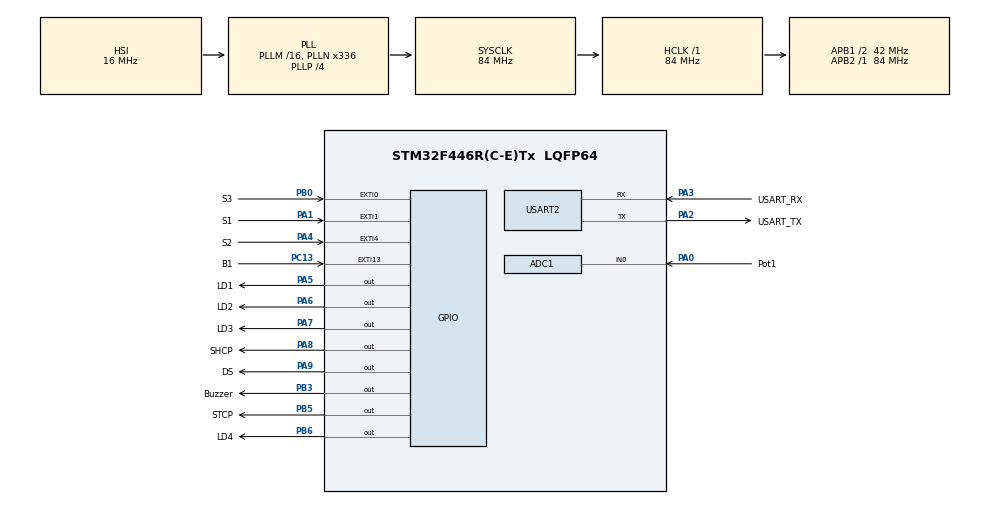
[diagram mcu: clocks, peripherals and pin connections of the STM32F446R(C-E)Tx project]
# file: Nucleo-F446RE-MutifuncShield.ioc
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ADC1.Channel-0\#ChannelRegularConversion=ADC_CHANNEL_0
ADC1.NbrOfConversionFlag=1
ADC1.Rank-0\#ChannelRegularConversion=1
ADC1.SamplingTime-0\#ChannelRegularConversion=ADC_SAMPLETIME_3CYCLES
ADC1.master=1
Mcu.Family=STM32F4
Mcu.Name=STM32F446R(C-E)Tx
Mcu.Package=LQFP64
NVIC.EXTI0_IRQn=true\:0\:0\:false\:false\:true\:true\:true\:true
NVIC.EXTI15_10_IRQn=true\:0\:0\:false\:false\:true\:true\:true\:true
NVIC.EXTI1_IRQn=true\:0\:0\:false\:false\:true\:true\:true\:true
NVIC.EXTI4_IRQn=true\:0\:0\:false\:false\:true\:true\:true\:true
NVIC.PriorityGroup=NVIC_PRIORITYGROUP_0
PA0-WKUP.GPIO_Label=Pot1
PA0-WKUP.Signal=ADCx_IN0
PA1.GPIO_Label=S1
PA1.Signal=GPXTI1
PA13.GPIO_Label=TMS
PA13.Mode=Serial_Wire
PA13.Signal=SYS_JTMS-SWDIO
PA14.GPIO_Label=TCK
PA14.Mode=Serial_Wire
PA14.Signal=SYS_JTCK-SWCLK
PA2.GPIO_Label=USART_TX
PA2.Mode=Asynchronous
PA2.Signal=USART2_TX
PA3.GPIO_Label=USART_RX
PA3.Mode=Asynchronous
PA3.Signal=USART2_RX
PA4.GPIO_Label=S2
PA4.Signal=GPXTI4
PA5.GPIO_Label=LD1
PA5.Signal=GPIO_Output
PA6.GPIO_Label=LD2
PA6.Signal=GPIO_Output
PA7.GPIO_Label=LD3
PA7.Signal=GPIO_Output
PA8.GPIO_Label=SHCP
PA8.Signal=GPIO_Output
PA9.GPIO_Label=DS
PA9.Signal=GPIO_Output
PB0.GPIO_Label=S3
PB0.Signal=GPXTI0
PB3.GPIO_Label=Buzzer
PB3.GPIO_PuPd=GPIO_PULLUP
PB3.PinState=GPIO_PIN_SET
PB3.Signal=GPIO_Output
PB5.GPIO_Label=STCP
PB5.Signal=GPIO_Output
PB6.GPIO_Label=LD4
PB6.Signal=GPIO_Output
PC13.GPIO_Label=B1
PC13.Signal=GPXTI13
PC14-OSC32_IN.Mode=LSE-External-Oscillator
PC14-OSC32_IN.Signal=RCC_OSC32_IN
PC15-OSC32_OUT.Mode=LSE-External-Oscillator
PC15-OSC32_OUT.Signal=RCC_OSC32_OUT
PH0-OSC_IN.Mode=HSE-External-Oscillator
PH0-OSC_IN.Signal=RCC_OSC_IN
PH1-OSC_OUT.Mode=HSE-External-Oscillator
PH1-OSC_OUT.Signal=RCC_OSC_OUT
ProjectManager.HeapSize=0x200
ProjectManager.StackSize=0x400
ProjectManager.TargetToolchain=STM32CubeIDE
RCC.48MHZClocksFreq_Value=84000000
RCC.AHBFreq_Value=84000000
RCC.APB1CLKDivider=RCC_HCLK_DIV2
RCC.APB1Freq_Value=42000000
RCC.APB1TimFreq_Value=84000000
RCC.APB2Freq_Value=84000000
RCC.APB2TimFreq_Value=84000000
RCC.CortexFreq_Value=84000000
RCC.FLatency-AdvancedSettings=FLASH_LATENCY_2
RCC.HCLKFreq_Value=84000000
RCC.HSE_VALUE=8000000
RCC.HSI_VALUE=16000000
RCC.PLLN=336
RCC.PLLP=RCC_PLLP_DIV4
RCC.SYSCLKFreq_VALUE=84000000
RCC.SYSCLKSource=RCC_SYSCLKSOURCE_PLLCLK
RCC.USBFreq_Value=168000000
RCC.VCOOutputFreq_Value=336000000
SH.ADCx_IN0.0=ADC1_IN0,IN0
TIM6.Prescaler=84-1
USART2.VirtualMode=VM_ASYNC
VP_TIM6_VS_ClockSourceINT.Mode=Enable_Timer
board=NUCLEO-F446RE

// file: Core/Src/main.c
/* USER CODE BEGIN Header */
/**
  ******************************************************************************
  * @file           : main.c
  * @brief          : Main program body
  ******************************************************************************
  * @attention
  *
  * Copyright (c) 2023 STMicroelectronics.
  * All rights reserved.
  *
  * This software is licensed under terms that can be found in the LICENSE file
  * in the root directory of this software component.
  * If no LICENSE file comes with this software, it is provided AS-IS.
  *
  *
  *
  *
  * DEPRECATED do not use this project!
  *
  *
  *
  *
  *
  ******************************************************************************
  */
/* USER CODE END Header */
#include "main.h"
#include "adc.h"
#include "tim.h"
#include "usart.h"
#include "gpio.h"

/* USER CODE BEGIN Includes */
#include "app.h"
#include "simpleOS.h"
#include <stdio.h>
#include <string.h>
#include <math.h>

/* USER CODE END Includes */

void SystemClock_Config(void);

int main(void)
{

  /* MCU Configuration--------------------------------------------------------*/

  /* Reset of all peripherals, Initializes the Flash interface and the Systick. */
  HAL_Init();

  /* Configure the system clock */
  SystemClock_Config();

  /* Initialize all configured peripherals */
  MX_GPIO_Init();
  MX_USART2_UART_Init();
  MX_ADC1_Init();
  MX_TIM6_Init();
  /* USER CODE BEGIN 2 */

#define DELAY_TIME_MS 2

  HAL_GPIO_WritePin(LD1_GPIO_Port, LD1_Pin, GPIO_PIN_SET); // LED off
  HAL_GPIO_WritePin(LD2_GPIO_Port, LD2_Pin, GPIO_PIN_SET); // LED off
  HAL_GPIO_WritePin(LD3_GPIO_Port, LD3_Pin, GPIO_PIN_SET); // LED off
  HAL_GPIO_WritePin(LD4_GPIO_Port, LD4_Pin, GPIO_PIN_SET); // LED off

  HAL_GPIO_WritePin(Buzzer_GPIO_Port, Buzzer_Pin, GPIO_PIN_SET); // Sound off

  /* Reset 7 Segment Display */
  mf_reset_display();
  HAL_Delay(DELAY_TIME_MS);
  //mf_demo_segment();

  simpleOS_init();

//  BEEP_ON();
//  HAL_Delay(200);
//  BEEP_OFF();

  /* USER CODE END 2 */

  /* Infinite loop */
  while (1)
  {

    /* USER CODE BEGIN 3 */

	  simpleOS_demo();
	  HAL_Delay(DELAY_TIME_MS);

  }
  /* USER CODE END 3 */
}

void SystemClock_Config(void)
{
  RCC_OscInitTypeDef RCC_OscInitStruct = {0};
  RCC_ClkInitTypeDef RCC_ClkInitStruct = {0};

  /** Configure the main internal regulator output voltage
  */
  __HAL_RCC_PWR_CLK_ENABLE();
  __HAL_PWR_VOLTAGESCALING_CONFIG(PWR_REGULATOR_VOLTAGE_SCALE3);

  /** Initializes the RCC Oscillators according to the specified parameters
  * in the RCC_OscInitTypeDef structure.
  */
  RCC_OscInitStruct.OscillatorType = RCC_OSCILLATORTYPE_HSI;
  RCC_OscInitStruct.HSIState = RCC_HSI_ON;
  RCC_OscInitStruct.HSICalibrationValue = RCC_HSICALIBRATION_DEFAULT;
  RCC_OscInitStruct.PLL.PLLState = RCC_PLL_ON;
  RCC_OscInitStruct.PLL.PLLSource = RCC_PLLSOURCE_HSI;
  RCC_OscInitStruct.PLL.PLLM = 16;
  RCC_OscInitStruct.PLL.PLLN = 336;
  RCC_OscInitStruct.PLL.PLLP = RCC_PLLP_DIV4;
  RCC_OscInitStruct.PLL.PLLQ = 2;
  RCC_OscInitStruct.PLL.PLLR = 2;
  if (HAL_RCC_OscConfig(&RCC_OscInitStruct) != HAL_OK)
  {
    Error_Handler();
  }

  /** Initializes the CPU, AHB and APB buses clocks
  */
  RCC_ClkInitStruct.ClockType = RCC_CLOCKTYPE_HCLK|RCC_CLOCKTYPE_SYSCLK
                              |RCC_CLOCKTYPE_PCLK1|RCC_CLOCKTYPE_PCLK2;
  RCC_ClkInitStruct.SYSCLKSource = RCC_SYSCLKSOURCE_PLLCLK;
  RCC_ClkInitStruct.AHBCLKDivider = RCC_SYSCLK_DIV1;
  RCC_ClkInitStruct.APB1CLKDivider = RCC_HCLK_DIV2;
  RCC_ClkInitStruct.APB2CLKDivider = RCC_HCLK_DIV1;

  if (HAL_RCC_ClockConfig(&RCC_ClkInitStruct, FLASH_LATENCY_2) != HAL_OK)
  {
    Error_Handler();
  }
}

/* USER CODE BEGIN 4 */
void HAL_GPIO_EXTI_Callback(uint16_t GPIO_Pin)
{
	static uint8_t cnt = 0;

	switch (GPIO_Pin) {

	case S3_Pin:
		//HAL_GPIO_TogglePin(LD3_GPIO_Port, LD3_Pin);
		break;

	case S1_Pin:
		//HAL_GPIO_TogglePin(LD1_GPIO_Port, LD1_Pin);
		mf_write_to_display_memory(1, mf_uint_to_char(cnt));
		cnt+=1;
		if(cnt>=16)
		{
			cnt = 0;
		}
		break;

	case S2_Pin:
		//HAL_GPIO_TogglePin(LD2_GPIO_Port, LD2_Pin);
		break;

	case B1_Pin:
		break;

	default:
		break;
	}
}

void simpleOS_callback_01(void) {
//	HAL_GPIO_WritePin(LD1_GPIO_Port, LD1_Pin, GPIO_PIN_RESET); // LED on
//	HAL_GPIO_WritePin(LD2_GPIO_Port, LD2_Pin, GPIO_PIN_SET);
//	HAL_GPIO_WritePin(LD3_GPIO_Port, LD3_Pin, GPIO_PIN_SET);
//	HAL_GPIO_WritePin(LD4_GPIO_Port, LD4_Pin, GPIO_PIN_SET);
//	HAL_GPIO_TogglePin(LD1_GPIO_Port, LD1_Pin);
	//LED1_TOGGLE();
	mf_refresh_segment();
}

void simpleOS_callback_05(void) {

	// reset timer 6 to 0
	__HAL_TIM_SET_COUNTER(&htim6, 0);

	// start timer 6 for executing measurement
	HAL_TIM_Base_Start(&htim6);

	// execute task
	app_FSM_SEGMENT_1_counter();
	for (uint_fast32_t i=0; i<1e3; i++) __NOP();

	// stop timer 6 for executing measurement
	HAL_TIM_Base_Stop(&htim6);

	periodic_task_set_exe_time_us(__HAL_TIM_GET_COUNTER(&htim6), pTask5_nmb);
}

void simpleOS_callback_06(void)
{
	simpleOS_measure_exe_time_tic(pTask6_nmb);

	app_FSM_SEGMENT_2_counter();

	simpleOS_measure_exe_time_toc(pTask6_nmb);
}

void simpleOS_callback_07(void) {
	//app_FSM_LED_bin_cunter();
	app_FSM_LED_snake();
	//app_FSM_LED_knightrider();
}

static volatile float var1 = 0.0;
static volatile float var2 = 0.0;
static volatile float var3 = 0.0;
static volatile float var4 = 0.0;

void simpleOS_callback_08(void) {
	// do some heavy calculation for testing

	simpleOS_measure_exe_time_tic(pTask8_nmb);

	const float a = -7.3496;
	const float b = 20.86;
	static float count = 0.000;
	float x = count;

	var1 = powf(3.14159, count);
	var2 = powf(2.0, count);
	var3 = a*x + b;
	count = count + 0.001;

	simpleOS_measure_exe_time_toc(pTask8_nmb);
}

void simpleOS_callback_09(void) {

	// report infor to console

	char buf[64] = {0};
	uint16_t sz = strlen(buf);

	sz = sprintf(buf, "task 1 exe time: %ld us cyc time: %ld us\r\n", periodic_task_get_exe_time_us(pTask1_nmb), periodic_task_get_cyc_time_us(pTask1_nmb));
	HAL_UART_Transmit(&huart2, (uint8_t*)buf, sz, 10);

	sz = sprintf(buf, "task 5 exe time: %ld us cyc time: %ld us\r\n", periodic_task_get_exe_time_us(pTask5_nmb), periodic_task_get_cyc_time_us(pTask5_nmb));
	HAL_UART_Transmit(&huart2, (uint8_t*)buf, sz, 10);

	sz = sprintf(buf, "task 6 exe time: %ld us cyc time: %ld us\r\n", periodic_task_get_exe_time_us(pTask6_nmb), periodic_task_get_cyc_time_us(pTask6_nmb));
	HAL_UART_Transmit(&huart2, (uint8_t*)buf, sz, 10);

	sz = sprintf(buf, "task 7 exe time: %ld us cyc time: %ld us\r\n", periodic_task_get_exe_time_us(pTask7_nmb), periodic_task_get_cyc_time_us(pTask7_nmb));
	HAL_UART_Transmit(&huart2, (uint8_t*)buf, sz, 10);

	sz = sprintf(buf, "task 8 exe time: %ld us cyc time: %ld us\r\n", periodic_task_get_exe_time_us(pTask8_nmb), periodic_task_get_cyc_time_us(pTask8_nmb));
	HAL_UART_Transmit(&huart2, (uint8_t*)buf, sz, 10);

	sz = sprintf(buf, "task 9 exe time: %ld us cyc time: %ld us\r\n", periodic_task_get_exe_time_us(pTask9_nmb), periodic_task_get_cyc_time_us(pTask9_nmb));
	HAL_UART_Transmit(&huart2, (uint8_t*)buf, sz, 10);

	sz = sprintf(buf, "var1: %6.3f var2: %6.3f var3 %6.3f\r\n", var1, var2, var3);
	HAL_UART_Transmit(&huart2, (uint8_t*)buf, sz, 10);

	HAL_UART_Transmit(&huart2, (uint8_t*)"----------\r\n", 12, 10);
}

/* USER CODE END 4 */

void Error_Handler(void)
{
  __disable_irq();
  while (1)
  {
  }
}
